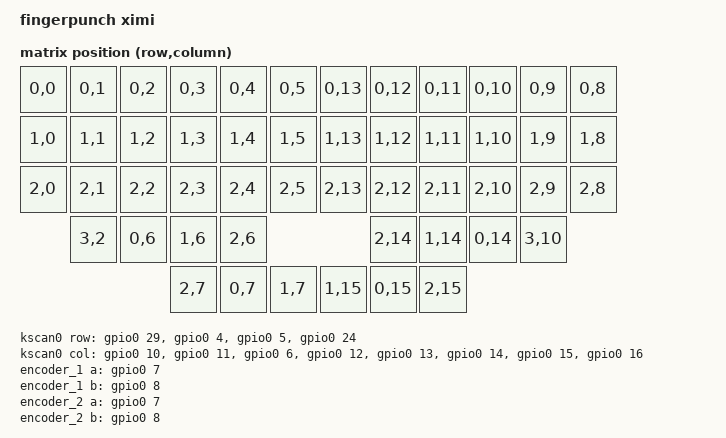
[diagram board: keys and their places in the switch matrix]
/*
 * Copyright (c) 2025 Pete Johanson
 *
 * SPDX-License-Identifier: Apache-2.0
 */

/dts-v1/;

#include <rpi_pico/rp2040.dtsi>
#include "ximi-pinctrl.dtsi"
#include <freq.h>
#include <dt-bindings/zmk/matrix_transform.h>
#include "ximi-layouts.dtsi"
#include <common/rp2-boot-mode-retention.dtsi>

&ximi_6col_layout {
	kscan = <&kscan0>;
	transform = <&default_transform>;
};

/ {
	model = "fingerpunch ximi";
	compatible = "fingerpunch,ximi", "raspberrypi,rp2040";

	chosen {
		zephyr,sram = &sram0;
		zephyr,flash = &flash0;
		zephyr,flash-controller = &ssi;
		zephyr,console = &uart0;
		zephyr,code-partition = &code_partition;
	};

	xtal_clk: xtal-clk {
		compatible = "fixed-clock";
		clock-frequency = <12000000>;
		#clock-cells = <0>;
	};

	kscan0: kscan {
		compatible = "zmk,kscan-gpio-matrix";
		wakeup-source;
		
		diode-direction = "col2row";
		col-gpios
			= <&gpio0 10 (GPIO_ACTIVE_HIGH)>
			, <&gpio0 11 (GPIO_ACTIVE_HIGH)>
			, <&gpio0 6 (GPIO_ACTIVE_HIGH)>
			, <&gpio0 12 (GPIO_ACTIVE_HIGH)>
			, <&gpio0 13 (GPIO_ACTIVE_HIGH)>
			, <&gpio0 14 (GPIO_ACTIVE_HIGH)>
			, <&gpio0 15 (GPIO_ACTIVE_HIGH)>
			, <&gpio0 16 (GPIO_ACTIVE_HIGH)>
			;
		row-gpios
			= <&gpio0 29 (GPIO_ACTIVE_HIGH | GPIO_PULL_DOWN)>
			, <&gpio0 4 (GPIO_ACTIVE_HIGH | GPIO_PULL_DOWN)>
			, <&gpio0 5 (GPIO_ACTIVE_HIGH | GPIO_PULL_DOWN)>
			, <&gpio0 24 (GPIO_ACTIVE_HIGH | GPIO_PULL_DOWN)>
			;
	};

    // Left encoder
    encoder_1: encoder_1 {
        compatible = "alps,ec11";
        a-gpios = <&gpio0 7 (GPIO_ACTIVE_LOW | GPIO_PULL_UP)>;
        b-gpios = <&gpio0 8 (GPIO_ACTIVE_LOW | GPIO_PULL_UP)>;
        steps = <80>;
        status = "okay";
    };

    // Right encoder
    encoder_2: encoder_2 {
        compatible = "alps,ec11";
        a-gpios = <&gpio0 7 (GPIO_ACTIVE_LOW | GPIO_PULL_UP)>;
        b-gpios = <&gpio0 8 (GPIO_ACTIVE_LOW | GPIO_PULL_UP)>;
        steps = <80>;
        status = "okay";
    };
	
	default_transform: keymap_transform_0 {
		compatible = "zmk,matrix-transform";
		columns = <16>;
		rows = <4>;
		map = <
			RC(0,0) RC(0,1) RC(0,2) RC(0,3) RC(0,4) RC(0,5)          RC(0,13) RC(0,12) RC(0,11) RC(0,10) RC(0,9) RC(0,8)
			RC(1,0) RC(1,1) RC(1,2) RC(1,3) RC(1,4) RC(1,5)          RC(1,13) RC(1,12) RC(1,11) RC(1,10) RC(1,9) RC(1,8)
			RC(2,0) RC(2,1) RC(2,2) RC(2,3) RC(2,4) RC(2,5)          RC(2,13) RC(2,12) RC(2,11) RC(2,10) RC(2,9) RC(2,8)
			        RC(3,2)           RC(0,6) RC(1,6) RC(2,6)      RC(2,14) RC(1,14) RC(0,14)            RC(3,10)
				                      RC(2,7) RC(0,7) RC(1,7)      RC(1,15) RC(0,15) RC(2,15)
		>;
	};
};

&flash0 {
	/* 8MB of flash minus the 0x100 used for
	 * the second stage bootloader
	 */
	reg = <0x10000000 DT_SIZE_M(4)>;

	partitions {
		compatible = "fixed-partitions";
		#address-cells = <1>;
		#size-cells = <1>;

		/*
		 * Start at the beginning of usable flash, 8MB minus the
		 * second stage space and the 16 KiB reserved for settings
		 */
		code_partition: partition@100 {
			label = "code";
			reg = <0x100 (DT_SIZE_M(4) - 0x100 - DT_SIZE_K(512))>;
			read-only;
		};

		storage_partition: partition@380000 {
			reg = <0x380000 DT_SIZE_K(512)>;
			read-only;
		};
	};

	split_config {
		compatible = "zmk,wired-split";
		device = <&uart0>;
	};
};

&uart0 {
	current-speed = <115200>;
	status = "okay";
	pinctrl-0 = <&uart0_default>;
	pinctrl-names = "default";
};

// For haptics eventually
&i2c1 {
	pinctrl-0 = <&i2c1_default>;
	pinctrl-names = "default";
	clock-frequency = <I2C_BITRATE_FAST>;
};

&spi0 {
	status = "okay";
	pinctrl-0 = <&spi0_default>;
	pinctrl-names = "default";
	clock-frequency = <DT_FREQ_M(2)>;

	cs-gpios = <&gpio0 21 GPIO_ACTIVE_LOW>;
};

&gpio0 {
	status = "okay";
};

zephyr_udc0: &usbd {
	status = "okay";
};

